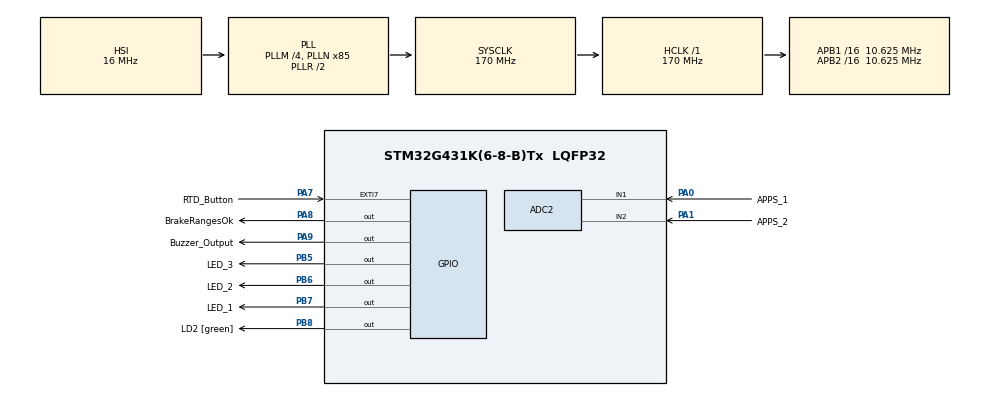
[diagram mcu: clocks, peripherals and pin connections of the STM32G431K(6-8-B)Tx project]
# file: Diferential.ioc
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ADC2.Channel-0\#ChannelRegularConversion=ADC_CHANNEL_1
ADC2.NbrOfConversionFlag=1
ADC2.OffsetNumber-0\#ChannelRegularConversion=ADC_OFFSET_NONE
ADC2.Rank-0\#ChannelRegularConversion=1
ADC2.SamplingTime-0\#ChannelRegularConversion=ADC_SAMPLETIME_2CYCLES_5
ADC2.SingleDiff-0\#ChannelRegularConversion=ADC_DIFFERENTIAL_ENDED
Mcu.Family=STM32G4
Mcu.Name=STM32G431K(6-8-B)Tx
Mcu.Package=LQFP32
NVIC.EXTI9_5_IRQn=true\:0\:0\:false\:false\:true\:true\:true
NVIC.PriorityGroup=NVIC_PRIORITYGROUP_4
NVIC.TIM1_BRK_TIM15_IRQn=true\:0\:0\:false\:false\:true\:true\:true
NVIC.TIM1_CC_IRQn=true\:0\:0\:false\:false\:true\:true\:true
NVIC.TIM1_TRG_COM_TIM17_IRQn=true\:0\:0\:false\:false\:true\:true\:true
NVIC.TIM1_UP_TIM16_IRQn=true\:0\:0\:false\:false\:true\:true\:true
PA0.GPIO_Label=APPS_1
PA0.Mode=IN1-Differential
PA0.Signal=ADC2_IN1
PA1.GPIO_Label=APPS_2
PA1.Mode=IN1-Differential
PA1.Signal=ADC2_IN2
PA13.GPIO_Label=T_SWDIO
PA13.Mode=Serial_Wire
PA13.Signal=SYS_JTMS-SWDIO
PA14.GPIO_Label=T_SWCLK
PA14.Mode=Serial_Wire
PA14.Signal=SYS_JTCK-SWCLK
PA2.GPIO_Label=BrakeSig_input
PA2.Signal=ADC1_IN3
PA7.GPIO_Label=RTD_Button
PA7.GPIO_ModeDefaultEXTI=GPIO_MODE_IT_FALLING
PA7.Signal=GPXTI7
PA8.GPIO_Label=BrakeRangesOk
PA8.Signal=GPIO_Output
PA9.GPIO_Label=Buzzer_Output
PA9.Signal=GPIO_Output
PB3.GPIO_Label=T_SWO
PB3.Signal=SYS_JTDO-SWO
PB5.GPIO_Label=LED_3
PB5.Signal=GPIO_Output
PB6.GPIO_Label=LED_2
PB6.Signal=GPIO_Output
PB7.GPIO_Label=LED_1
PB7.Signal=GPIO_Output
PB8-BOOT0.GPIO_Label=LD2 [green]
PB8-BOOT0.Signal=GPIO_Output
ProjectManager.HeapSize=0x200
ProjectManager.StackSize=0x400
ProjectManager.TargetToolchain=STM32CubeIDE
RCC.ADC12Freq_Value=170000000
RCC.AHBFreq_Value=170000000
RCC.APB1CLKDivider=RCC_HCLK_DIV16
RCC.APB1Freq_Value=10625000
RCC.APB1TimFreq_Value=21250000
RCC.APB2CLKDivider=RCC_HCLK_DIV16
RCC.APB2Freq_Value=10625000
RCC.APB2TimFreq_Value=21250000
RCC.CortexFreq_Value=170000000
RCC.EXTERNAL_CLOCK_VALUE=12288000
RCC.HCLKFreq_Value=170000000
RCC.HSE_VALUE=8000000
RCC.HSI48_VALUE=48000000
RCC.HSI_VALUE=16000000
RCC.LSE_VALUE=32768
RCC.PLLM=RCC_PLLM_DIV4
RCC.PLLN=85
RCC.SYSCLKFreq_VALUE=170000000
RCC.SYSCLKSource=RCC_SYSCLKSOURCE_PLLCLK
RCC.USBFreq_Value=170000000
RCC.VCOOutputFreq_Value=340000000
TIM1.PeriodNoDither=50
TIM1.Prescaler=21250
VP_SYS_VS_DBSignals.Mode=DisableDeadBatterySignals
VP_TIM1_VS_ClockSourceINT.Mode=Internal
board=NUCLEO-G431KB

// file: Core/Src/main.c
/* USER CODE BEGIN Header */
/**
  ******************************************************************************
  * @file           : main.c
  * @brief          : Main program body
  ******************************************************************************
  * @attention
  *
  * <h2><center>&copy; Copyright (c) 2020 STMicroelectronics.
  * All rights reserved.</center></h2>
  *
  * This software component is licensed by ST under BSD 3-Clause license,
  * the "License"; You may not use this file except in compliance with the
  * License. You may obtain a copy of the License at:
  *                        opensource.org/licenses/BSD-3-Clause
  *
  ******************************************************************************
  */
/* USER CODE END Header */
#include "main.h"

ADC_HandleTypeDef hadc2;

TIM_HandleTypeDef htim1;

void SystemClock_Config(void);
static void MX_GPIO_Init(void);
static void MX_ADC2_Init(void);
static void MX_TIM1_Init(void);
/* USER CODE BEGIN PFP */

void (*Pos_pointer)();

//prototypes:
void Init_State(); //State after the turn-on, waiting for the ready to drive start;
void Comm_State(); //State which the car is on the ready to drive mode;

/* USER CODE END PFP */

int main(void)
{

  /* MCU Configuration--------------------------------------------------------*/

  /* Reset of all peripherals, Initializes the Flash interface and the Systick. */
  HAL_Init();

  /* Configure the system clock */
  SystemClock_Config();

  /* Initialize all configured peripherals */
  MX_GPIO_Init();
  MX_ADC2_Init();
  MX_TIM1_Init();
  /* USER CODE BEGIN 2 */
  Pos_pointer = Init_State;
  /* USER CODE END 2 */

  /* Infinite loop */
  /* USER CODE BEGIN WHILE */
  while (1)
  {
	  (*Pos_pointer)();

	  	  HAL_Delay(20);
    /* USER CODE END WHILE */

  }
}

void SystemClock_Config(void)
{
  RCC_OscInitTypeDef RCC_OscInitStruct = {0};
  RCC_ClkInitTypeDef RCC_ClkInitStruct = {0};
  RCC_PeriphCLKInitTypeDef PeriphClkInit = {0};

  /** Configure the main internal regulator output voltage
  */
  HAL_PWREx_ControlVoltageScaling(PWR_REGULATOR_VOLTAGE_SCALE1_BOOST);
  /** Initializes the RCC Oscillators according to the specified parameters
  * in the RCC_OscInitTypeDef structure.
  */
  RCC_OscInitStruct.OscillatorType = RCC_OSCILLATORTYPE_HSI;
  RCC_OscInitStruct.HSIState = RCC_HSI_ON;
  RCC_OscInitStruct.HSICalibrationValue = RCC_HSICALIBRATION_DEFAULT;
  RCC_OscInitStruct.PLL.PLLState = RCC_PLL_ON;
  RCC_OscInitStruct.PLL.PLLSource = RCC_PLLSOURCE_HSI;
  RCC_OscInitStruct.PLL.PLLM = RCC_PLLM_DIV4;
  RCC_OscInitStruct.PLL.PLLN = 85;
  RCC_OscInitStruct.PLL.PLLP = RCC_PLLP_DIV2;
  RCC_OscInitStruct.PLL.PLLQ = RCC_PLLQ_DIV2;
  RCC_OscInitStruct.PLL.PLLR = RCC_PLLR_DIV2;
  if (HAL_RCC_OscConfig(&RCC_OscInitStruct) != HAL_OK)
  {
    Error_Handler();
  }
  /** Initializes the CPU, AHB and APB buses clocks
  */
  RCC_ClkInitStruct.ClockType = RCC_CLOCKTYPE_HCLK|RCC_CLOCKTYPE_SYSCLK
                              |RCC_CLOCKTYPE_PCLK1|RCC_CLOCKTYPE_PCLK2;
  RCC_ClkInitStruct.SYSCLKSource = RCC_SYSCLKSOURCE_PLLCLK;
  RCC_ClkInitStruct.AHBCLKDivider = RCC_SYSCLK_DIV1;
  RCC_ClkInitStruct.APB1CLKDivider = RCC_HCLK_DIV16;
  RCC_ClkInitStruct.APB2CLKDivider = RCC_HCLK_DIV16;

  if (HAL_RCC_ClockConfig(&RCC_ClkInitStruct, FLASH_LATENCY_4) != HAL_OK)
  {
    Error_Handler();
  }
  /** Initializes the peripherals clocks
  */
  PeriphClkInit.PeriphClockSelection = RCC_PERIPHCLK_ADC12;
  PeriphClkInit.Adc12ClockSelection = RCC_ADC12CLKSOURCE_SYSCLK;
  if (HAL_RCCEx_PeriphCLKConfig(&PeriphClkInit) != HAL_OK)
  {
    Error_Handler();
  }
}

static void MX_ADC2_Init(void)
{

  ADC_ChannelConfTypeDef sConfig = {0};

  /** Common config
  */
  hadc2.Instance = ADC2;
  hadc2.Init.ClockPrescaler = ADC_CLOCK_SYNC_PCLK_DIV4;
  hadc2.Init.Resolution = ADC_RESOLUTION_12B;
  hadc2.Init.DataAlign = ADC_DATAALIGN_RIGHT;
  hadc2.Init.GainCompensation = 0;
  hadc2.Init.ScanConvMode = ADC_SCAN_DISABLE;
  hadc2.Init.EOCSelection = ADC_EOC_SINGLE_CONV;
  hadc2.Init.LowPowerAutoWait = DISABLE;
  hadc2.Init.ContinuousConvMode = DISABLE;
  hadc2.Init.NbrOfConversion = 1;
  hadc2.Init.DiscontinuousConvMode = DISABLE;
  hadc2.Init.ExternalTrigConv = ADC_SOFTWARE_START;
  hadc2.Init.ExternalTrigConvEdge = ADC_EXTERNALTRIGCONVEDGE_NONE;
  hadc2.Init.DMAContinuousRequests = DISABLE;
  hadc2.Init.Overrun = ADC_OVR_DATA_PRESERVED;
  hadc2.Init.OversamplingMode = DISABLE;
  if (HAL_ADC_Init(&hadc2) != HAL_OK)
  {
    Error_Handler();
  }
  /** Configure Regular Channel
  */
  sConfig.Channel = ADC_CHANNEL_1;
  sConfig.Rank = ADC_REGULAR_RANK_1;
  sConfig.SamplingTime = ADC_SAMPLETIME_2CYCLES_5;
  sConfig.SingleDiff = ADC_DIFFERENTIAL_ENDED;
  sConfig.OffsetNumber = ADC_OFFSET_NONE;
  sConfig.Offset = 0;
  if (HAL_ADC_ConfigChannel(&hadc2, &sConfig) != HAL_OK)
  {
    Error_Handler();
  }

}

static void MX_TIM1_Init(void)
{

  TIM_ClockConfigTypeDef sClockSourceConfig = {0};
  TIM_MasterConfigTypeDef sMasterConfig = {0};
  TIM_BreakDeadTimeConfigTypeDef sBreakDeadTimeConfig = {0};

  htim1.Instance = TIM1;
  htim1.Init.Prescaler = 21250;
  htim1.Init.CounterMode = TIM_COUNTERMODE_UP;
  htim1.Init.Period = 50;
  htim1.Init.ClockDivision = TIM_CLOCKDIVISION_DIV1;
  htim1.Init.RepetitionCounter = 0;
  htim1.Init.AutoReloadPreload = TIM_AUTORELOAD_PRELOAD_DISABLE;
  if (HAL_TIM_Base_Init(&htim1) != HAL_OK)
  {
    Error_Handler();
  }
  sClockSourceConfig.ClockSource = TIM_CLOCKSOURCE_INTERNAL;
  if (HAL_TIM_ConfigClockSource(&htim1, &sClockSourceConfig) != HAL_OK)
  {
    Error_Handler();
  }
  sMasterConfig.MasterOutputTrigger = TIM_TRGO_RESET;
  sMasterConfig.MasterOutputTrigger2 = TIM_TRGO2_RESET;
  sMasterConfig.MasterSlaveMode = TIM_MASTERSLAVEMODE_DISABLE;
  if (HAL_TIMEx_MasterConfigSynchronization(&htim1, &sMasterConfig) != HAL_OK)
  {
    Error_Handler();
  }
  sBreakDeadTimeConfig.BreakAFMode = TIM_BREAK_AFMODE_INPUT;
  sBreakDeadTimeConfig.Break2AFMode = TIM_BREAK_AFMODE_INPUT;
  if (HAL_TIMEx_ConfigBreakDeadTime(&htim1, &sBreakDeadTimeConfig) != HAL_OK)
  {
    Error_Handler();
  }

}

static void MX_GPIO_Init(void)
{
  GPIO_InitTypeDef GPIO_InitStruct = {0};

  /* GPIO Ports Clock Enable */
  __HAL_RCC_GPIOA_CLK_ENABLE();
  __HAL_RCC_GPIOB_CLK_ENABLE();

  /*Configure GPIO pin Output Level */
  HAL_GPIO_WritePin(GPIOA, BrakeRangesOk_Pin|Buzzer_Output_Pin, GPIO_PIN_RESET);

  /*Configure GPIO pin Output Level */
  HAL_GPIO_WritePin(GPIOB, LED_3_Pin|LED_2_Pin|LED_1_Pin|LD2_Pin, GPIO_PIN_RESET);

  /*Configure GPIO pin : BrakeSig_input_Pin */
  GPIO_InitStruct.Pin = BrakeSig_input_Pin;
  GPIO_InitStruct.Mode = GPIO_MODE_ANALOG;
  GPIO_InitStruct.Pull = GPIO_NOPULL;
  HAL_GPIO_Init(BrakeSig_input_GPIO_Port, &GPIO_InitStruct);

  /*Configure GPIO pin : RTD_Button_Pin */
  GPIO_InitStruct.Pin = RTD_Button_Pin;
  GPIO_InitStruct.Mode = GPIO_MODE_IT_FALLING;
  GPIO_InitStruct.Pull = GPIO_NOPULL;
  HAL_GPIO_Init(RTD_Button_GPIO_Port, &GPIO_InitStruct);

  /*Configure GPIO pins : BrakeRangesOk_Pin Buzzer_Output_Pin */
  GPIO_InitStruct.Pin = BrakeRangesOk_Pin|Buzzer_Output_Pin;
  GPIO_InitStruct.Mode = GPIO_MODE_OUTPUT_PP;
  GPIO_InitStruct.Pull = GPIO_NOPULL;
  GPIO_InitStruct.Speed = GPIO_SPEED_FREQ_LOW;
  HAL_GPIO_Init(GPIOA, &GPIO_InitStruct);

  /*Configure GPIO pins : LED_3_Pin LED_2_Pin LED_1_Pin LD2_Pin */
  GPIO_InitStruct.Pin = LED_3_Pin|LED_2_Pin|LED_1_Pin|LD2_Pin;
  GPIO_InitStruct.Mode = GPIO_MODE_OUTPUT_PP;
  GPIO_InitStruct.Pull = GPIO_NOPULL;
  GPIO_InitStruct.Speed = GPIO_SPEED_FREQ_LOW;
  HAL_GPIO_Init(GPIOB, &GPIO_InitStruct);

  /* EXTI interrupt init*/
  HAL_NVIC_SetPriority(EXTI9_5_IRQn, 0, 0);
  HAL_NVIC_EnableIRQ(EXTI9_5_IRQn);

}

/* USER CODE BEGIN 4 */

//Detects Ready to drive button interrupt (GPIO_PIN_7)
void HAL_GPIO_EXTI_Callback(uint16_t GPIO_Pin)
{
	if((GPIO_Pin == GPIO_PIN_7))
	{
			HAL_TIM_Base_Start_IT(&htim1);
		// Pos_pointer = Comm_State;

		} else{
			__NOP();

		}
}

void Debouncing_Check()
{
  //If Ready to Drive button and brake remain pressed..Set the Ready to Drive Mode flag to True.

  if((HAL_GPIO_ReadPin(GPIOA,GPIO_PIN_7) == GPIO_PIN_RESET))
	{
	  Pos_pointer = Error_Handler;
	  HAL_GPIO_WritePin(LED_1_GPIO_Port, LED_1_Pin, GPIO_PIN_RESET);
	} else{

		(*Pos_pointer)();
	}
}

void Init_State(void)
{
	HAL_GPIO_TogglePin(LED_1_GPIO_Port, LED_1_Pin);
	HAL_Delay(1000);
}

void Comm_State(void)
{
	HAL_GPIO_TogglePin(LED_2_GPIO_Port, LED_2_Pin);
	HAL_Delay(1000);
}

HAL_TIM_PeriodElapsedCallback(TIM_HandleTypeDef *htim)
{
	UNUSED(htim);

    Debouncing_Check();

}

/* USER CODE END 4 */

void Error_Handler(void)
{
  /* USER CODE BEGIN Error_Handler_Debug */
  /* User can add his own implementation to report the HAL error return state */
  __disable_irq();
  while (1)
  {
	  HAL_GPIO_TogglePin(LED_3_GPIO_Port, LED_3_Pin);
	 // HAL_Delay(1000);
  }
  /* USER CODE END Error_Handler_Debug */
}

/************************ (C) COPYRIGHT STMicroelectronics *****END OF FILE****/
